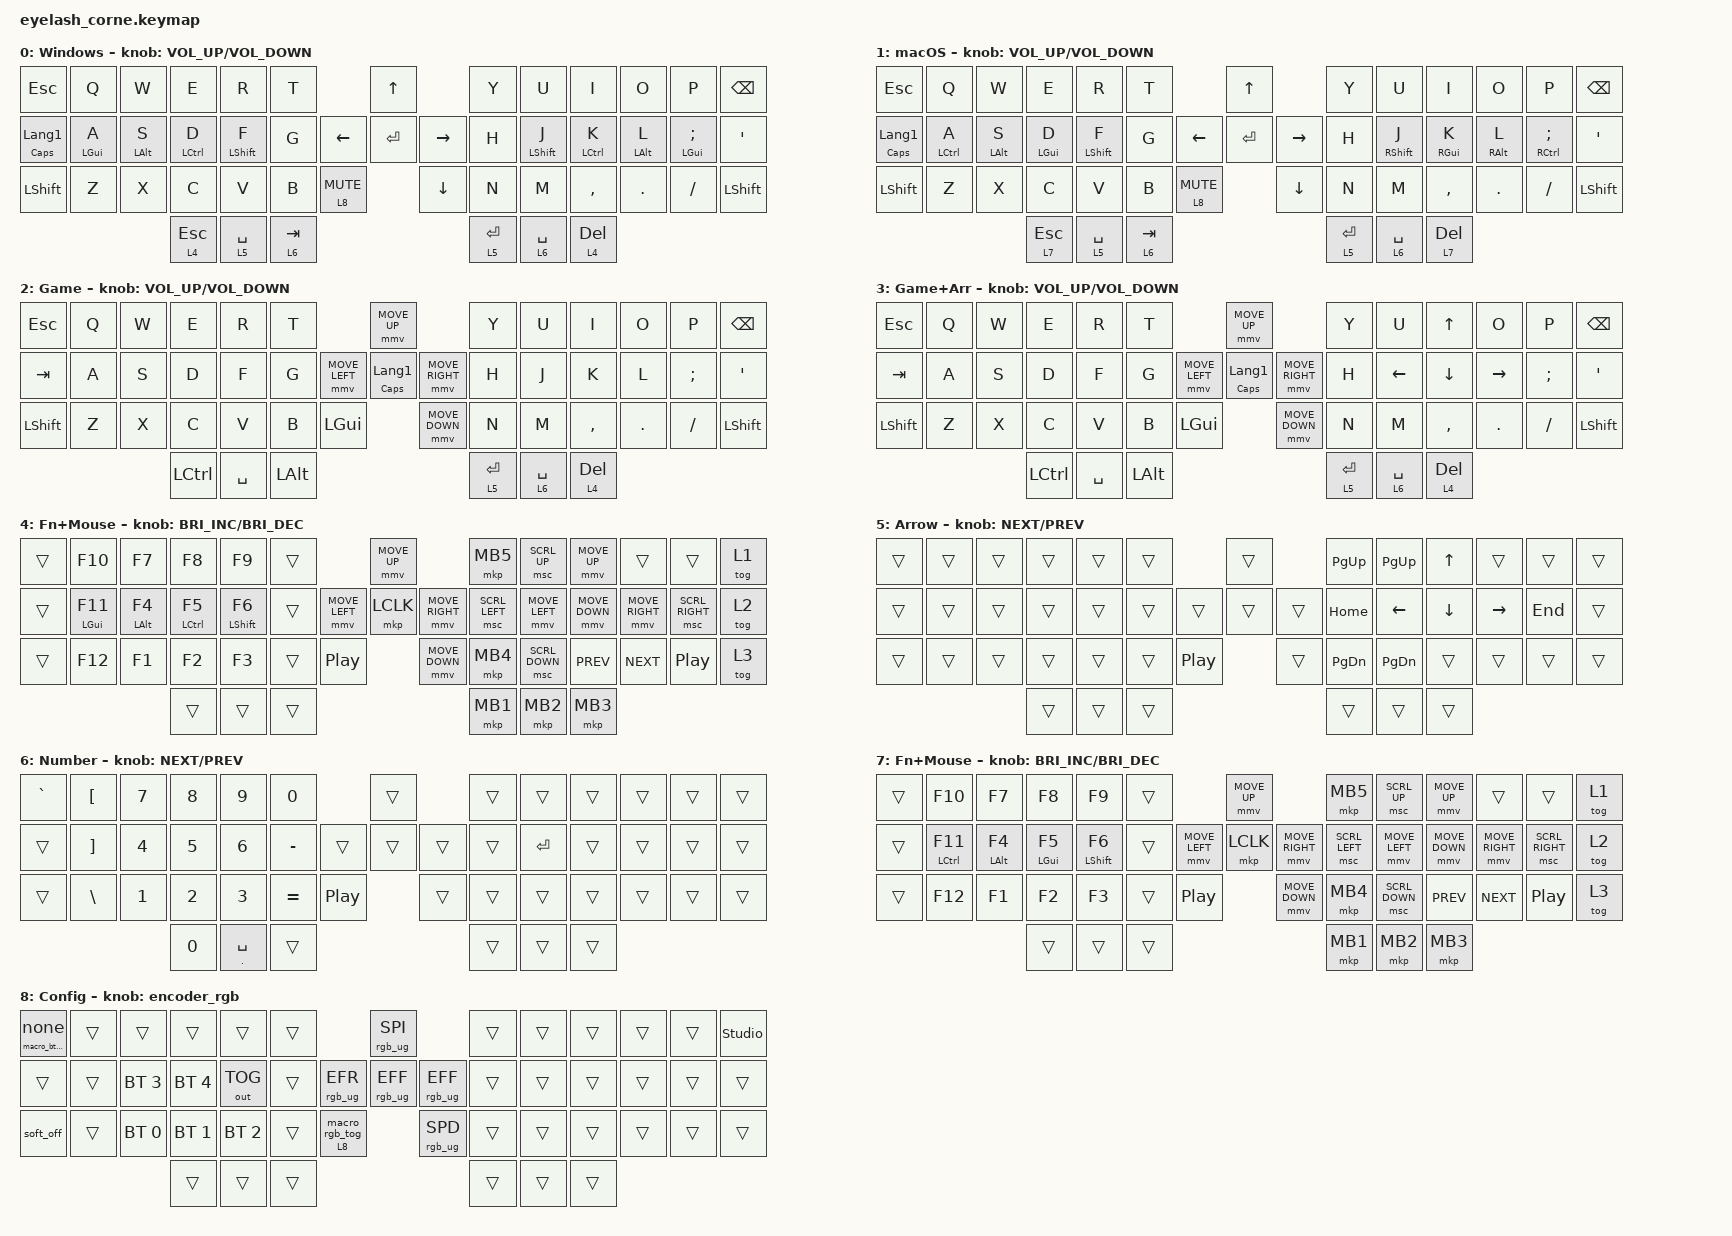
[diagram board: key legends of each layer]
#define ZMK_POINTING_DEFAULT_MOVE_VAL 1200  // default = 600
#define ZMK_POINTING_DEFAULT_SCRL_VAL 20    // default = 10

#include <input/processors.dtsi>
#include <zephyr/dt-bindings/input/input-event-codes.h>
#include <behaviors.dtsi>
#include <dt-bindings/zmk/bt.h>
#include <dt-bindings/zmk/keys.h>
#include <dt-bindings/zmk/outputs.h>
#include <dt-bindings/zmk/pointing.h>
#include <dt-bindings/zmk/rgb.h>

&mmv_input_listener { input-processors = <&zip_xy_scaler 2 1>; };

&msc_input_listener { input-processors = <&zip_scroll_scaler 2 1>; };

&soft_off { hold-time-ms = <50>; };

&msc {
};

&mmv {
};

/ {
    behaviors {
        caps_fn: caps_fn {
            compatible = "zmk,behavior-hold-tap";
            bindings = <&kp>, <&kp>;

            #binding-cells = <2>;
            tapping-term-ms = <600>;
            flavor = "tap-preferred";
        };

        homerow: homerow {
            compatible = "zmk,behavior-hold-tap";
            bindings = <&kp>, <&kp>;

            #binding-cells = <2>;
            tapping-term-ms = <200>;
            flavor = "tap-preferred";
            quick-tap-ms = <300>;
        };

        encoder_rgb: encoder_rgb {
            compatible = "zmk,behavior-sensor-rotate";
            #sensor-binding-cells = <0>;
            bindings = <&rgb_ug RGB_BRI>, <&rgb_ug RGB_BRD>;
        };

        space_period: space_period {
            compatible = "zmk,behavior-hold-tap";
            bindings = <&kp>, <&kp>;

            #binding-cells = <2>;
            flavor = "tap-preferred";
            tapping-term-ms = <200>;
        };

        thumb: thumb {
            compatible = "zmk,behavior-hold-tap";
            bindings = <&mo>, <&kp>;

            #binding-cells = <2>;
            tapping-term-ms = <200>;
            flavor = "balanced";
            quick-tap-ms = <150>;
        };

        sft: sft {
            compatible = "zmk,behavior-hold-tap";
            bindings = <&kp>, <&sk>;

            #binding-cells = <2>;
            tapping-term-ms = <200>;
        };

        long_bt_clr: long_bt_clr {
            compatible = "zmk,behavior-hold-tap";
            bindings = <&macro_bt_clr>, <&none>;

            #binding-cells = <2>;
            tapping-term-ms = <1000>;
        };

        tog_conf: tog_conf {
            compatible = "zmk,behavior-hold-tap";
            bindings = <&tog>, <&kp>;

            #binding-cells = <2>;
            tapping-term-ms = <500>;
        };

        tog_conf2: tog_conf2 {
            compatible = "zmk,behavior-hold-tap";
            bindings = <&tog>, <&macro_rgb_tog>;

            #binding-cells = <2>;
            tapping-term-ms = <500>;
        };
    };

    combos {
        compatible = "zmk,combos";

        cut_M {
            bindings = <&kp LG(X)>;
            key-positions = <29 30>;
            timeout-ms = <100>;
            layers = <1>;
        };

        copy_M {
            bindings = <&kp LG(C)>;
            key-positions = <30 31>;
            layers = <1>;
            timeout-ms = <100>;
        };

        paste_M {
            bindings = <&kp LG(V)>;
            key-positions = <31 32>;
            timeout-ms = <100>;
            layers = <1>;
        };

        cut_W {
            bindings = <&kp LC(X)>;
            key-positions = <29 30>;
            timeout-ms = <100>;
            layers = <0>;
        };

        copy_W {
            bindings = <&kp LC(C)>;
            key-positions = <30 31>;
            timeout-ms = <100>;
            layers = <0>;
        };

        paste_W {
            bindings = <&kp LC(V)>;
            key-positions = <31 32>;
            timeout-ms = <100>;
            layers = <0>;
        };
    };

    macros {
        macro_bt_clr: macro_bt_clr {
            compatible = "zmk,behavior-macro";
            #binding-cells = <0>;
            bindings = <&bt BT_CLR>;
        };

        macro_rgb_tog: macro_rgb_tog {
            compatible = "zmk,behavior-macro";
            #binding-cells = <0>;
            bindings = <&rgb_ug RGB_TOG>;
        };
    };

    keymap {
        compatible = "zmk,keymap";

        windows_layer {
            display-name = "Windows";
            bindings = <
&kp ESCAPE                    &kp Q                &kp W                &kp E                    &kp R                  &kp T                                         &kp UP                &kp Y           &kp U                  &kp I                    &kp O                &kp P                        &kp BSPC
&caps_fn CAPSLOCK LANGUAGE_1  &homerow LEFT_GUI A  &homerow LEFT_ALT S  &homerow LEFT_CONTROL D  &homerow LEFT_SHIFT F  &kp G                               &kp LEFT  &kp ENTER  &kp RIGHT  &kp H           &homerow LEFT_SHIFT J  &homerow LEFT_CONTROL K  &homerow LEFT_ALT L  &homerow LEFT_GUI SEMICOLON  &kp SQT
&kp LSHIFT                    &kp Z                &kp X                &kp C                    &kp V                  &kp B         &tog_conf 8 C_MUTE              &kp DOWN              &kp N           &kp M                  &kp COMMA                &kp DOT              &kp FSLH                     &kp LSHIFT
                                                                        &thumb 4 ESCAPE          &thumb 5 SPACE         &thumb 6 TAB                                                        &thumb 5 ENTER  &thumb 6 SPACE         &thumb 4 DELETE
            >;

            sensor-bindings = <&inc_dec_kp C_VOLUME_UP C_VOLUME_DOWN>;
        };

        macos_layer {
            display-name = "macOS";
            bindings = <
&kp ESCAPE                    &kp Q                    &kp W                &kp E                &kp R                  &kp T                                         &kp UP                &kp Y           &kp U                   &kp I                 &kp O                 &kp P                             &kp BSPC
&caps_fn CAPSLOCK LANGUAGE_1  &homerow LEFT_CONTROL A  &homerow LEFT_ALT S  &homerow LEFT_GUI D  &homerow LEFT_SHIFT F  &kp G                               &kp LEFT  &kp ENTER  &kp RIGHT  &kp H           &homerow RIGHT_SHIFT J  &homerow RIGHT_GUI K  &homerow RIGHT_ALT L  &homerow RIGHT_CONTROL SEMICOLON  &kp SQT
&kp LSHIFT                    &kp Z                    &kp X                &kp C                &kp V                  &kp B         &tog_conf 8 C_MUTE              &kp DOWN              &kp N           &kp M                   &kp COMMA             &kp DOT               &kp FSLH                          &kp LSHIFT
                                                                            &thumb 7 ESCAPE      &thumb 5 SPACE         &thumb 6 TAB                                                        &thumb 5 ENTER  &thumb 6 SPACE          &thumb 7 DEL
            >;

            sensor-bindings = <&inc_dec_kp C_VOLUME_UP C_VOLUME_DOWN>;
        };

        gaming_layer {
            display-name = "Game";
            bindings = <
&kp ESCAPE  &kp Q  &kp W  &kp E      &kp R      &kp T                                 &mmv MOVE_UP                               &kp Y           &kp U           &kp I            &kp O    &kp P          &kp BSPC
&kp TAB     &kp A  &kp S  &kp D      &kp F      &kp G                 &mmv MOVE_LEFT  &caps_fn CAPS LANGUAGE_1  &mmv MOVE_RIGHT  &kp H           &kp J           &kp K            &kp L    &kp SEMICOLON  &kp SQT
&kp LSHIFT  &kp Z  &kp X  &kp C      &kp V      &kp B     &kp LGUI                    &mmv MOVE_DOWN                             &kp N           &kp M           &kp COMMA        &kp DOT  &kp FSLH       &kp LSHIFT
                          &kp LCTRL  &kp SPACE  &kp LALT                                                                         &thumb 5 ENTER  &thumb 6 SPACE  &thumb 4 DELETE
            >;

            sensor-bindings = <&inc_dec_kp C_VOLUME_UP C_VOLUME_DOWN>;
        };

        gaming_layer2 {
            display-name = "Game+Arr";
            bindings = <
&kp ESCAPE  &kp Q  &kp W  &kp E      &kp R      &kp T                                 &mmv MOVE_UP                               &kp Y           &kp U           &kp UP           &kp O      &kp P          &kp BSPC
&kp TAB     &kp A  &kp S  &kp D      &kp F      &kp G                 &mmv MOVE_LEFT  &caps_fn CAPS LANGUAGE_1  &mmv MOVE_RIGHT  &kp H           &kp LEFT        &kp DOWN         &kp RIGHT  &kp SEMICOLON  &kp SQT
&kp LSHIFT  &kp Z  &kp X  &kp C      &kp V      &kp B     &kp LGUI                    &mmv MOVE_DOWN                             &kp N           &kp M           &kp COMMA        &kp DOT    &kp FSLH       &kp LSHIFT
                          &kp LCTRL  &kp SPACE  &kp LALT                                                                         &thumb 5 ENTER  &thumb 6 SPACE  &thumb 4 DELETE
            >;

            sensor-bindings = <&inc_dec_kp C_VOLUME_UP C_VOLUME_DOWN>;
        };

        fn+ms_layer {
            display-name = "Fn+Mouse";
            bindings = <
&trans  &kp F10                &kp F7                &kp F8                    &kp F9                  &trans                              &mmv MOVE_UP                     &mkp MB5        &msc SCRL_UP    &mmv MOVE_UP    &trans           &trans           &tog 1
&trans  &homerow LEFT_GUI F11  &homerow LEFT_ALT F4  &homerow LEFT_CONTROL F5  &homerow LEFT_SHIFT F6  &trans              &mmv MOVE_LEFT  &mkp LCLK       &mmv MOVE_RIGHT  &msc SCRL_LEFT  &mmv MOVE_LEFT  &mmv MOVE_DOWN  &mmv MOVE_RIGHT  &msc SCRL_RIGHT  &tog 2
&trans  &kp F12                &kp F1                &kp F2                    &kp F3                  &trans  &kp C_PP                    &mmv MOVE_DOWN                   &mkp MB4        &msc SCRL_DOWN  &kp C_PREV      &kp C_NEXT       &kp C_PP         &tog 3
                                                     &trans                    &trans                  &trans                                                               &mkp MB1        &mkp MB2        &mkp MB3
            >;

            sensor-bindings = <&inc_dec_kp C_BRIGHTNESS_INC C_BRIGHTNESS_DEC>;
        };

        arrow_layer {
            display-name = "Arrow";
            bindings = <
&trans  &trans  &trans  &trans  &trans  &trans                      &trans          &kp PG_UP  &kp PG_UP  &kp UP    &trans     &trans   &trans
&trans  &trans  &trans  &trans  &trans  &trans              &trans  &trans  &trans  &kp HOME   &kp LEFT   &kp DOWN  &kp RIGHT  &kp END  &trans
&trans  &trans  &trans  &trans  &trans  &trans  &kp C_PP            &trans          &kp PG_DN  &kp PG_DN  &trans    &trans     &trans   &trans
                        &trans  &trans  &trans                                      &trans     &trans     &trans
            >;

            sensor-bindings = <&inc_dec_kp C_NEXT C_PREV>;
        };

        num_layer {
            display-name = "Number";
            bindings = <
&kp GRAVE  &kp LBKT  &kp N7  &kp N8  &kp N9                   &kp N0                         &trans          &trans  &trans     &trans  &trans  &trans  &trans
&trans     &kp RBKT  &kp N4  &kp N5  &kp N6                   &kp MINUS              &trans  &trans  &trans  &trans  &kp ENTER  &trans  &trans  &trans  &trans
&trans     &kp BSLH  &kp N1  &kp N2  &kp N3                   &kp EQUAL  &kp C_PP            &trans          &trans  &trans     &trans  &trans  &trans  &trans
                             &kp N0  &space_period DOT SPACE  &trans                                         &trans  &trans     &trans
            >;

            sensor-bindings = <&inc_dec_kp C_NEXT C_PREV>;
        };

        fn+ms_m_layer {
            display-name = "Fn+Mouse";
            bindings = <
&trans  &kp F10                    &kp F7                &kp F8                &kp F9                  &trans                              &mmv MOVE_UP                     &mkp MB5        &msc SCRL_UP    &mmv MOVE_UP    &trans           &trans           &tog 1
&trans  &homerow LEFT_CONTROL F11  &homerow LEFT_ALT F4  &homerow LEFT_GUI F5  &homerow LEFT_SHIFT F6  &trans              &mmv MOVE_LEFT  &mkp LCLK       &mmv MOVE_RIGHT  &msc SCRL_LEFT  &mmv MOVE_LEFT  &mmv MOVE_DOWN  &mmv MOVE_RIGHT  &msc SCRL_RIGHT  &tog 2
&trans  &kp F12                    &kp F1                &kp F2                &kp F3                  &trans  &kp C_PP                    &mmv MOVE_DOWN                   &mkp MB4        &msc SCRL_DOWN  &kp C_PREV      &kp C_NEXT       &kp C_PP         &tog 3
                                                         &trans                &trans                  &trans                                                               &mkp MB1        &mkp MB2        &mkp MB3
            >;

            sensor-bindings = <&inc_dec_kp C_BRIGHTNESS_INC C_BRIGHTNESS_DEC>;
        };

        conf_layer {
            display-name = "Config";
            bindings = <
&long_bt_clr 0 0  &trans  &trans        &trans        &trans        &trans                                     &rgb_ug RGB_SPI                   &trans  &trans  &trans  &trans  &trans  &studio_unlock
&trans            &trans  &bt BT_SEL 3  &bt BT_SEL 4  &out OUT_TOG  &trans                    &rgb_ug RGB_EFR  &rgb_ug RGB_EFF  &rgb_ug RGB_EFF  &trans  &trans  &trans  &trans  &trans  &trans
&soft_off         &trans  &bt BT_SEL 0  &bt BT_SEL 1  &bt BT_SEL 2  &trans  &tog_conf2 8 0                     &rgb_ug RGB_SPD                   &trans  &trans  &trans  &trans  &trans  &trans
                                        &trans        &trans        &trans                                                                       &trans  &trans  &trans
            >;

            sensor-bindings = <&encoder_rgb>;
        };
    };
};
